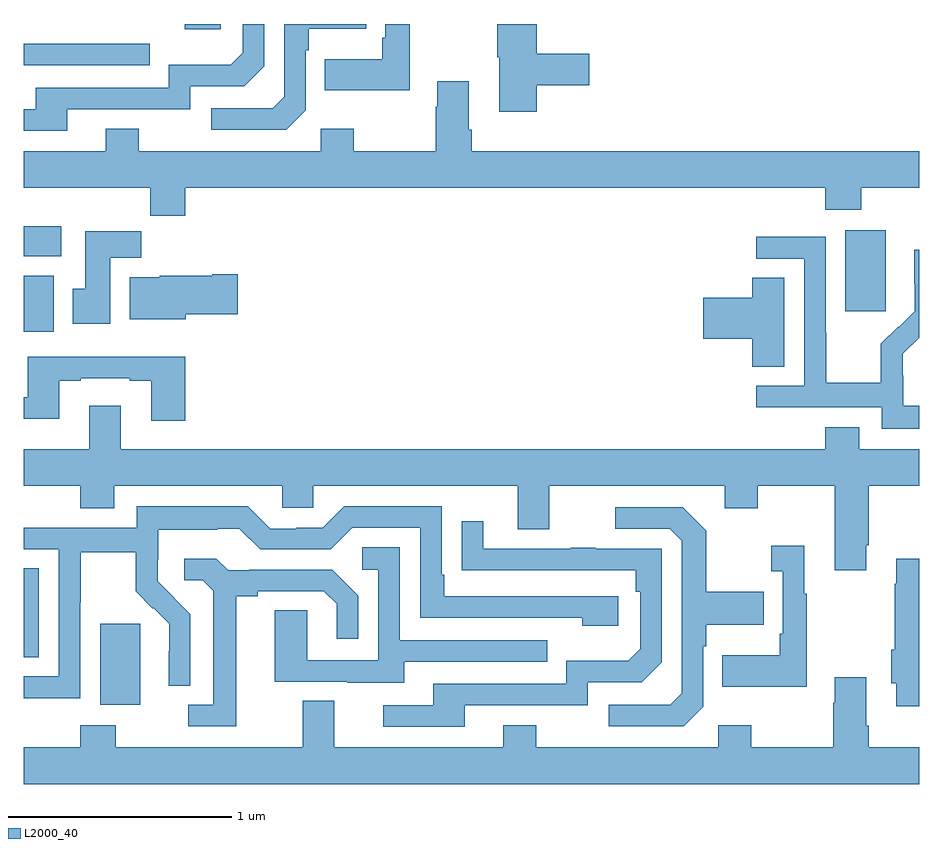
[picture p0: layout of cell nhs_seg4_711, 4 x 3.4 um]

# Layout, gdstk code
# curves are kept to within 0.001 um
import gdstk
lib = gdstk.Library(unit=1e-6, precision=1e-09)
def R(c, l, rs):  # rectangles x0, y0, x1, y1
    for r in rs: c.add(gdstk.rectangle(r[:2], r[2:], *l))
def P(c, l, *ps):  # polygons
    for p in ps: c.add(gdstk.Polygon(p, *l))
L2000_40 = (2000, 40)

nhs_seg4_711 = lib.new_cell('nhs_seg4_711')
R(nhs_seg4_711, L2000_40, [(147.341,779.858,147.52,780.219), (147,780.07,147.067,780.467), (147,781.524,147.133,781.774), (150.671,781.617,150.85,781.978), (147,781.862,147.166,781.996), (147,782.715,147.563,782.811), (147.719,782.876,147.88,782.9)])
P(nhs_seg4_711, L2000_40, [(147.193,782.52),(147.744,782.52),(147.744,782.622),(147.984,782.622),(148.074,782.712),(148.074,782.9),(147.978,782.9),(147.978,782.772),(147.925,782.719),(147.648,782.719),(147.648,782.616),(147.053,782.616),(147.053,782.52),(147,782.52),(147,782.424),(147.193,782.424)],
  [(148.26,782.514),(148.26,782.783),(148.273,782.783),(148.273,782.879),(148.529,782.879),(148.529,782.9),(148.164,782.9),(148.164,782.574),(148.113,782.523),(147.837,782.523),(147.837,782.427),(148.173,782.427)],
  [(148.723,782.9),(148.614,782.9),(148.614,782.839),(148.602,782.839),(148.602,782.743),(148.345,782.743),(148.345,782.603),(148.723,782.603)],
  [(149.291,782.626),(149.527,782.626),(149.527,782.768),(149.291,782.768),(149.291,782.9),(149.116,782.9),(149.116,782.751),(149.123,782.751),(149.123,782.508),(149.291,782.508)],
  [(147.722,782.168),(150.581,782.168),(150.581,782.069),(150.741,782.069),(150.741,782.168),(151,782.168),(151,782.332),(149,782.332),(149,782.428),(148.987,782.428),(148.987,782.644),(148.847,782.644),(148.847,782.531),(148.84,782.531),(148.84,782.332),(148.473,782.332),(148.473,782.431),(148.326,782.431),(148.326,782.332),(147.513,782.332),(147.513,782.431),(147.365,782.431),(147.365,782.332),(147,782.332),(147,782.168),(147.565,782.168),(147.565,782.044),(147.722,782.044)],
  [(147.385,781.856),(147.524,781.856),(147.524,781.975),(147.275,781.975),(147.275,781.716),(147.218,781.716),(147.218,781.56),(147.385,781.56)],
  [(151,781.195),(150.93,781.195),(150.93,781.329),(150.928,781.329),(150.928,781.426),(151,781.498),(151,781.892),(150.978,781.892),(150.978,781.738),(150.98,781.738),(150.98,781.616),(150.909,781.545),(150.906,781.548),(150.829,781.471),(150.829,781.297),(150.585,781.297),(150.585,781.52),(150.582,781.52),(150.582,781.95),(150.273,781.95),(150.273,781.851),(150.486,781.851),(150.486,781.284),(150.273,781.284),(150.273,781.188),(150.834,781.188),(150.834,781.091),(151,781.091)],
  [(147.724,781.604),(147.955,781.604),(147.955,781.782),(147.842,781.782),(147.842,781.774),(147.606,781.774),(147.606,781.768),(147.473,781.768),(147.473,781.58),(147.724,781.58)],
  [(150.397,781.766),(150.254,781.766),(150.254,781.676),(150.036,781.676),(150.036,781.493),(150.254,781.493),(150.254,781.369),(150.397,781.369)],
  [(147.722,781.414),(147.017,781.414),(147.017,781.233),(147,781.233),(147,781.136),(147.157,781.136),(147.157,781.305),(147.253,781.305),(147.253,781.317),(147.473,781.317),(147.473,781.305),(147.569,781.305),(147.569,781.128),(147.722,781.128)],
  [(150.763,780.571),(150.776,780.571),(150.776,780.836),(151,780.836),(151,781),(150.733,781),(150.733,781.099),(150.581,781.099),(150.581,781),(147.433,781),(147.433,781.195),(147.293,781.195),(147.293,781),(147,781),(147,780.836),(147.251,780.836),(147.251,780.737),(147.403,780.737),(147.403,780.836),(148.155,780.836),(148.155,780.738),(148.293,780.738),(148.293,780.836),(149.207,780.836),(149.207,780.642),(149.347,780.642),(149.347,780.836),(150.131,780.836),(150.131,780.737),(150.279,780.737),(150.279,780.836),(150.623,780.836),(150.623,780.459),(150.763,780.459)],
  [(147.252,780.316),(147.255,780.316),(147.255,780.54),(147.499,780.54),(147.499,780.365),(147.576,780.288),(147.579,780.291),(147.65,780.221),(147.65,780.098),(147.648,780.098),(147.648,779.944),(147.744,779.944),(147.744,780.262),(147.598,780.41),(147.598,780.507),(147.6,780.507),(147.6,780.641),(147.863,780.641),(147.863,780.645),(147.963,780.645),(148.056,780.552),(148.371,780.552),(148.467,780.648),(148.77,780.648),(148.77,780.246),(149.495,780.246),(149.495,780.212),(149.656,780.212),(149.656,780.342),(148.879,780.342),(148.879,780.439),(148.866,780.439),(148.866,780.744),(148.431,780.744),(148.335,780.648),(148.217,780.648),(148.217,780.645),(148.101,780.645),(148.001,780.745),(147.504,780.745),(147.504,780.648),(147,780.648),(147,780.552),(147.156,780.552),(147.156,779.985),(147,779.985),(147,779.887),(147.252,779.887)],
  [(150.036,779.85),(150.036,780.119),(150.049,780.119),(150.049,780.215),(150.305,780.215),(150.305,780.363),(150.049,780.363),(150.049,780.635),(149.943,780.741),(149.643,780.741),(149.643,780.645),(149.886,780.645),(149.94,780.591),(149.94,779.91),(149.889,779.859),(149.613,779.859),(149.613,779.763),(149.949,779.763)],
  [(148.969,779.856),(149.52,779.856),(149.52,779.958),(149.76,779.958),(149.85,780.048),(149.85,780.555),(149.555,780.555),(149.555,780.56),(149.443,780.56),(149.443,780.555),(149.053,780.555),(149.053,780.679),(148.957,780.679),(148.957,780.46),(149.734,780.459),(149.734,780.362),(149.754,780.362),(149.754,780.108),(149.701,780.055),(149.424,780.055),(149.424,779.952),(148.829,779.952),(148.829,779.856),(148.605,779.856),(148.605,779.76),(148.969,779.76)],
  [(150.499,780.355),(150.487,780.355),(150.487,780.568),(150.339,780.568),(150.339,780.455),(150.39,780.455),(150.39,780.175),(150.378,780.175),(150.378,780.079),(150.121,780.079),(150.121,779.939),(150.499,779.939)],
  [(148.699,780.051),(149.339,780.051),(149.339,780.147),(148.68,780.147),(148.68,780.563),(148.512,780.563),(148.512,780.462),(148.584,780.462),(148.584,780.057),(148.266,780.057),(148.266,780.281),(148.121,780.281),(148.121,779.961),(148.445,779.961),(148.445,779.957),(148.699,779.957)],
  [(151,780.511),(150.899,780.511),(150.899,780.398),(150.892,780.398),(150.892,780.105),(150.875,780.105),(150.875,779.955),(150.899,779.955),(150.899,779.852),(151,779.852)],
  [(147.949,780.344),(148.045,780.344),(148.045,780.366),(148.34,780.366),(148.397,780.309),(148.397,780.153),(148.494,780.153),(148.494,780.346),(148.378,780.462),(148.006,780.462),(148.006,780.459),(147.912,780.459),(147.86,780.511),(147.717,780.511),(147.717,780.414),(147.798,780.414),(147.845,780.367),(147.845,779.859),(147.735,779.859),(147.735,779.763),(147.949,779.763)],
  [(147.251,779.767),(147.251,779.668),(147,779.668),(147,779.504),(151,779.504),(151,779.668),(150.776,779.668),(150.776,779.764),(150.763,779.764),(150.763,779.98),(150.623,779.98),(150.623,779.867),(150.616,779.867),(150.616,779.668),(150.249,779.668),(150.249,779.767),(150.102,779.767),(150.102,779.668),(149.289,779.668),(149.289,779.767),(149.141,779.767),(149.141,779.668),(148.387,779.668),(148.387,779.876),(148.247,779.876),(148.247,779.668),(147.411,779.668),(147.411,779.767)])

lib.write_gds('nhs_seg4_711.gds')
